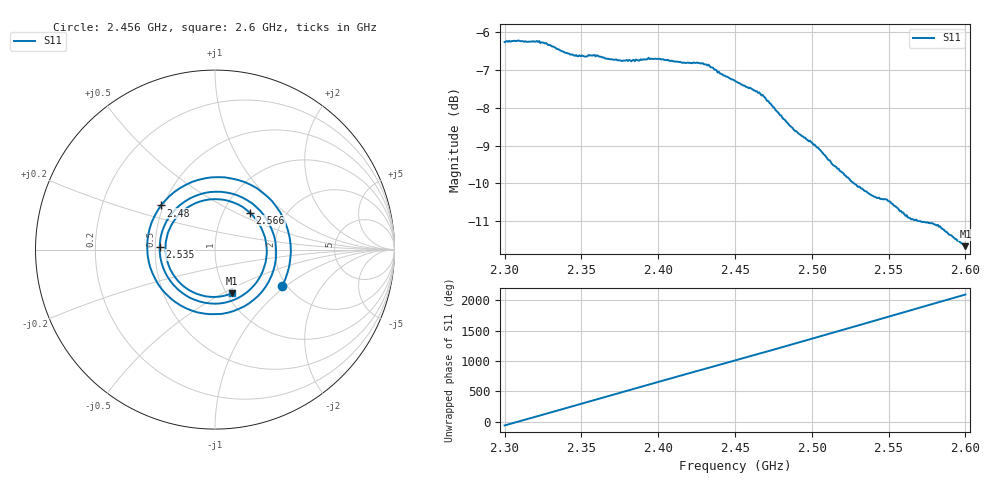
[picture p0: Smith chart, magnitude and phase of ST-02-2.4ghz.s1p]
! NanoVNA-App
! Date: 2026-05-22 18:47:26
! Start: 2.3GHz Stop: 2.6GHz Points: 401
! S-Parameter data: F S11
# Hz S RI R 50
!  Frequency  S11_Real  S11_Imag
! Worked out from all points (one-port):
!   401 points, 2.3 GHz to 2.6 GHz, reference 50 ohm
!   lowest |S11| = -11.7 dB at 2.6 GHz (marker M1), VSWR 1.71, Z = 52.8 - j27.7 ohm
!   |S11| at or under -10 dB: 2.527 GHz to end of sweep
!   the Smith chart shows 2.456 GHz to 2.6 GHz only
!   S11 on the Smith chart (normalised r, x): 2.456 GHz: 1.90, -0.94; 2.48 GHz: 0.48, +0.28; 2.535 GHz: 0.53, +0.02; 2.566 GHz: 1.33, +0.60; 2.6 GHz: 1.06, -0.55
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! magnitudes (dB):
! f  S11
! 2.3 GHz  -6.3
! 2.321 GHz  -6.2
! 2.329 GHz  -6.3
! 2.337 GHz  -6.5
! 2.346 GHz  -6.6
! 2.359 GHz  -6.6
! 2.375 GHz  -6.7
! 2.386 GHz  -6.7
! 2.395 GHz  -6.7
! 2.413 GHz  -6.8
! 2.428 GHz  -6.8
! 2.432 GHz  -6.9
! 2.44 GHz  -7.1
! 2.45 GHz  -7.3
! 2.456 GHz  -7.4
! 2.467 GHz  -7.7
! 2.48 GHz  -8.2
! 2.487 GHz  -8.5
! 2.503 GHz  -9.0
! 2.514 GHz  -9.5
! 2.525 GHz  -9.9
! 2.535 GHz  -10.2
! 2.542 GHz  -10.4
! 2.55 GHz  -10.5
! 2.562 GHz  -10.9
! 2.566 GHz  -11.0
! 2.582 GHz  -11.1
! 2.6 GHz  -11.7
